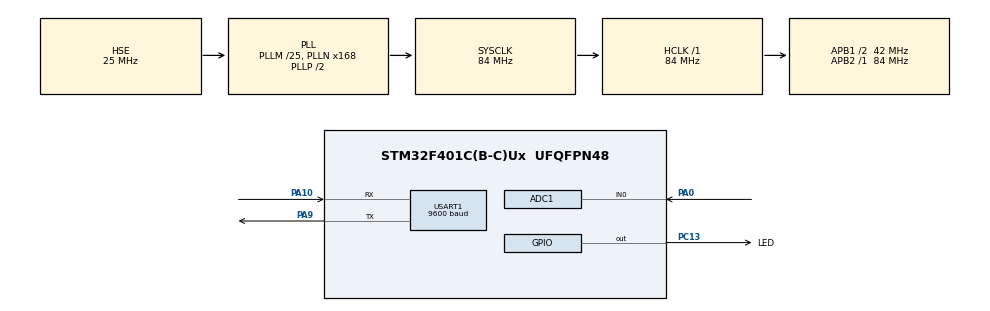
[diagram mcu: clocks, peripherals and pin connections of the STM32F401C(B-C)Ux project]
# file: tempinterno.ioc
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ADC1.Channel-0\#ChannelRegularConversion=ADC_CHANNEL_0
ADC1.Channel-1\#ChannelRegularConversion=ADC_CHANNEL_TEMPSENSOR
ADC1.DiscontinuousConvMode=ENABLE
ADC1.NbrOfConversion=2
ADC1.NbrOfConversionFlag=1
ADC1.Rank-0\#ChannelRegularConversion=1
ADC1.Rank-1\#ChannelRegularConversion=2
ADC1.SamplingTime-0\#ChannelRegularConversion=ADC_SAMPLETIME_3CYCLES
ADC1.SamplingTime-1\#ChannelRegularConversion=ADC_SAMPLETIME_3CYCLES
ADC1.master=1
Mcu.Family=STM32F4
Mcu.Name=STM32F401C(B-C)Ux
Mcu.Package=UFQFPN48
Mcu.UserConstants=adc1,$$_ADC1_IP_HANDLE_$$
NVIC.PriorityGroup=NVIC_PRIORITYGROUP_4
PA0-WKUP.Signal=ADCx_IN0
PA10.Mode=Asynchronous
PA10.Signal=USART1_RX
PA9.Mode=Asynchronous
PA9.Signal=USART1_TX
PC13-ANTI_TAMP.GPIO_Label=LED
PC13-ANTI_TAMP.Signal=GPIO_Output
PH0\ -\ OSC_IN.Mode=HSE-External-Oscillator
PH0\ -\ OSC_IN.Signal=RCC_OSC_IN
PH1\ -\ OSC_OUT.Mode=HSE-External-Oscillator
PH1\ -\ OSC_OUT.Signal=RCC_OSC_OUT
ProjectManager.HeapSize=0x200
ProjectManager.StackSize=0x400
ProjectManager.TargetToolchain=STM32CubeIDE
RCC.48MHZClocksFreq_Value=42000000
RCC.AHBFreq_Value=84000000
RCC.APB1CLKDivider=RCC_HCLK_DIV2
RCC.APB1Freq_Value=42000000
RCC.APB1TimFreq_Value=84000000
RCC.APB2Freq_Value=84000000
RCC.APB2TimFreq_Value=84000000
RCC.CortexFreq_Value=84000000
RCC.HCLKFreq_Value=84000000
RCC.HSE_VALUE=25000000
RCC.HSI_VALUE=16000000
RCC.LSE_VALUE=32768
RCC.PLLM=25
RCC.PLLN=168
RCC.PLLSourceVirtual=RCC_PLLSOURCE_HSE
RCC.SYSCLKFreq_VALUE=84000000
RCC.SYSCLKSource=RCC_SYSCLKSOURCE_PLLCLK
RCC.VCOOutputFreq_Value=168000000
SH.ADCx_IN0.0=ADC1_IN0,IN0
USART1.BaudRate=9600
USART1.VirtualMode=VM_ASYNC
VP_ADC1_TempSens_Input.Mode=IN-TempSens
board=custom

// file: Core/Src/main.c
/* USER CODE BEGIN Header */
/**
  ******************************************************************************
  * @file           : main.c
  * @brief          : Main program body
  ******************************************************************************
  * @attention
  *
  * Copyright (c) 2023 STMicroelectronics.
  * All rights reserved.
  *
  * This software is licensed under terms that can be found in the LICENSE file
  * in the root directory of this software component.
  * If no LICENSE file comes with this software, it is provided AS-IS.
  *
  ******************************************************************************
  */
/* USER CODE END Header */
#include "main.h"

/* USER CODE BEGIN Includes */
#include "uart.h"
#include "adc.h"
#include "delays.h"

#include "string.h"
#include "stdio.h"

/* USER CODE END Includes */

ADC_HandleTypeDef hadc1;

UART_HandleTypeDef huart1;

/* USER CODE BEGIN PV */
uint16_t codigo;
float voltaje,temp_voltios,temp_interna;
char texto[100];

/* USER CODE END PV */

void SystemClock_Config(void);
static void MX_GPIO_Init(void);
static void MX_ADC1_Init(void);
static void MX_USART1_UART_Init(void);

int main(void)
{

  /* MCU Configuration--------------------------------------------------------*/

  /* Reset of all peripherals, Initializes the Flash interface and the Systick. */
  HAL_Init();

  /* Configure the system clock */
  SystemClock_Config();

  /* Initialize all configured peripherals */
  MX_GPIO_Init();
  MX_ADC1_Init();
  MX_USART1_UART_Init();
  /* USER CODE BEGIN 2 */
   uartx_write_text(&huart1, "Iniciando\r\n");
  /* USER CODE END 2 */

  /* Infinite loop */
  /* USER CODE BEGIN WHILE */
  while (1)
  {
	  //leer el voltaje
	  codigo=ADC_Read();
     voltaje=codigo*3.3/4095.0;// voltaje an0

	  //lee temperatura interna micro
	    codigo=ADC_Read();// voltaje sensor interno tempo
	    temp_voltios=codigo*3.3/4095.0;// pasa a grados

	    //datos sacados del datasheet
	    float const V25 = 0.76;  // V (Typical voltage at 25°C)
	    float const Avg_Slope = 0.0025;  // V/°C (Average slope of temperature vs. voltage)
	    //fromula sacada del manual de referencia
	    temp_interna = ((temp_voltios-V25) / Avg_Slope) + 25;

	    sprintf(texto,"Volt=%.2f\r\nTEMP=%.2f\r\n\r\n",voltaje,temp_interna);
	    uartx_write_text(&huart1, texto);
	    HAL_Delay(1000);
    /* USER CODE END WHILE */

  }
}

void SystemClock_Config(void)
{
  RCC_OscInitTypeDef RCC_OscInitStruct = {0};
  RCC_ClkInitTypeDef RCC_ClkInitStruct = {0};

  /** Configure the main internal regulator output voltage
  */
  __HAL_RCC_PWR_CLK_ENABLE();
  __HAL_PWR_VOLTAGESCALING_CONFIG(PWR_REGULATOR_VOLTAGE_SCALE2);

  /** Initializes the RCC Oscillators according to the specified parameters
  * in the RCC_OscInitTypeDef structure.
  */
  RCC_OscInitStruct.OscillatorType = RCC_OSCILLATORTYPE_HSE;
  RCC_OscInitStruct.HSEState = RCC_HSE_ON;
  RCC_OscInitStruct.PLL.PLLState = RCC_PLL_ON;
  RCC_OscInitStruct.PLL.PLLSource = RCC_PLLSOURCE_HSE;
  RCC_OscInitStruct.PLL.PLLM = 25;
  RCC_OscInitStruct.PLL.PLLN = 168;
  RCC_OscInitStruct.PLL.PLLP = RCC_PLLP_DIV2;
  RCC_OscInitStruct.PLL.PLLQ = 4;
  if (HAL_RCC_OscConfig(&RCC_OscInitStruct) != HAL_OK)
  {
    Error_Handler();
  }

  /** Initializes the CPU, AHB and APB buses clocks
  */
  RCC_ClkInitStruct.ClockType = RCC_CLOCKTYPE_HCLK|RCC_CLOCKTYPE_SYSCLK
                              |RCC_CLOCKTYPE_PCLK1|RCC_CLOCKTYPE_PCLK2;
  RCC_ClkInitStruct.SYSCLKSource = RCC_SYSCLKSOURCE_PLLCLK;
  RCC_ClkInitStruct.AHBCLKDivider = RCC_SYSCLK_DIV1;
  RCC_ClkInitStruct.APB1CLKDivider = RCC_HCLK_DIV2;
  RCC_ClkInitStruct.APB2CLKDivider = RCC_HCLK_DIV1;

  if (HAL_RCC_ClockConfig(&RCC_ClkInitStruct, FLASH_LATENCY_2) != HAL_OK)
  {
    Error_Handler();
  }
}

static void MX_ADC1_Init(void)
{

  ADC_ChannelConfTypeDef sConfig = {0};

  /** Configure the global features of the ADC (Clock, Resolution, Data Alignment and number of conversion)
  */
  hadc1.Instance = ADC1;
  hadc1.Init.ClockPrescaler = ADC_CLOCK_SYNC_PCLK_DIV4;
  hadc1.Init.Resolution = ADC_RESOLUTION_12B;
  hadc1.Init.ScanConvMode = ENABLE;
  hadc1.Init.ContinuousConvMode = DISABLE;
  hadc1.Init.DiscontinuousConvMode = ENABLE;
  hadc1.Init.NbrOfDiscConversion = 1;
  hadc1.Init.ExternalTrigConvEdge = ADC_EXTERNALTRIGCONVEDGE_NONE;
  hadc1.Init.ExternalTrigConv = ADC_SOFTWARE_START;
  hadc1.Init.DataAlign = ADC_DATAALIGN_RIGHT;
  hadc1.Init.NbrOfConversion = 2;
  hadc1.Init.DMAContinuousRequests = DISABLE;
  hadc1.Init.EOCSelection = ADC_EOC_SINGLE_CONV;
  if (HAL_ADC_Init(&hadc1) != HAL_OK)
  {
    Error_Handler();
  }

  /** Configure for the selected ADC regular channel its corresponding rank in the sequencer and its sample time.
  */
  sConfig.Channel = ADC_CHANNEL_0;
  sConfig.Rank = 1;
  sConfig.SamplingTime = ADC_SAMPLETIME_3CYCLES;
  if (HAL_ADC_ConfigChannel(&hadc1, &sConfig) != HAL_OK)
  {
    Error_Handler();
  }

  /** Configure for the selected ADC regular channel its corresponding rank in the sequencer and its sample time.
  */
  sConfig.Channel = ADC_CHANNEL_TEMPSENSOR;
  sConfig.Rank = 2;
  if (HAL_ADC_ConfigChannel(&hadc1, &sConfig) != HAL_OK)
  {
    Error_Handler();
  }

}

static void MX_USART1_UART_Init(void)
{

  huart1.Instance = USART1;
  huart1.Init.BaudRate = 9600;
  huart1.Init.WordLength = UART_WORDLENGTH_8B;
  huart1.Init.StopBits = UART_STOPBITS_1;
  huart1.Init.Parity = UART_PARITY_NONE;
  huart1.Init.Mode = UART_MODE_TX_RX;
  huart1.Init.HwFlowCtl = UART_HWCONTROL_NONE;
  huart1.Init.OverSampling = UART_OVERSAMPLING_16;
  if (HAL_UART_Init(&huart1) != HAL_OK)
  {
    Error_Handler();
  }

}

static void MX_GPIO_Init(void)
{
  GPIO_InitTypeDef GPIO_InitStruct = {0};

  /* GPIO Ports Clock Enable */
  __HAL_RCC_GPIOC_CLK_ENABLE();
  __HAL_RCC_GPIOH_CLK_ENABLE();
  __HAL_RCC_GPIOA_CLK_ENABLE();

  /*Configure GPIO pin Output Level */
  HAL_GPIO_WritePin(LED_GPIO_Port, LED_Pin, GPIO_PIN_RESET);

  /*Configure GPIO pin : LED_Pin */
  GPIO_InitStruct.Pin = LED_Pin;
  GPIO_InitStruct.Mode = GPIO_MODE_OUTPUT_PP;
  GPIO_InitStruct.Pull = GPIO_NOPULL;
  GPIO_InitStruct.Speed = GPIO_SPEED_FREQ_LOW;
  HAL_GPIO_Init(LED_GPIO_Port, &GPIO_InitStruct);

}

void Error_Handler(void)
{
  __disable_irq();
  while (1)
  {
  }
}
